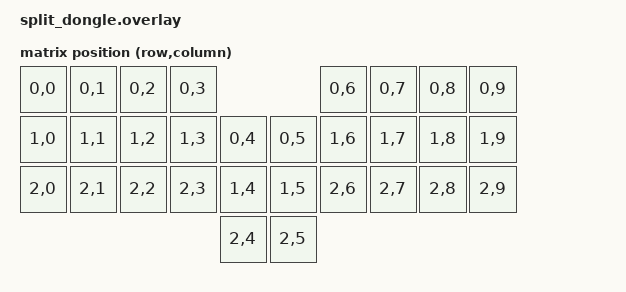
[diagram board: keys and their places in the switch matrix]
#include <dt-bindings/zmk/matrix_transform.h>
#include "split-layouts.dtsi"

&default_layout {
  transform = <&default_transform>;
};

/ {
    chosen {
      zmk,kscan = &mock_kscan;
      zmk,physical-layout = &default_layout;
    };

    default_transform: default_transform {
        compatible = "zmk,matrix-transform";
        columns = <10>;
        rows = <3>;
/*
*                       SW1    SW2    SW3    SW4                   SW19   SW18   SW17   SW16
*                       SW6    SW7    SW8    SW9    SW5     SW20   SW24   SW23   SW22   SW21
*                       SW11   SW12   SW13   SW14   SW10    SW25   SW29   SW28   SW27   SW26
*                                                   SW15    SW30
*/
        map = <
            RC(0, 0) RC(0, 1) RC(0, 2) RC(0, 3)                      RC(0, 6) RC(0, 7) RC(0, 8) RC(0, 9) 
            RC(1, 0) RC(1, 1) RC(1, 2) RC(1, 3) RC(0, 4)    RC(0, 5) RC(1, 6) RC(1, 7) RC(1, 8) RC(1, 9)  
            RC(2, 0) RC(2, 1) RC(2, 2) RC(2, 3) RC(1, 4)    RC(1, 5) RC(2, 6) RC(2, 7) RC(2, 8) RC(2, 9) 
                                                RC(2, 4)    RC(2, 5)
        >;
    };

    mock_kscan: mock_kscan_0 {
      compatible = "zmk,kscan-mock";
      columns = <0>;
      rows = <0>;
      events = <0>;
    };
};
